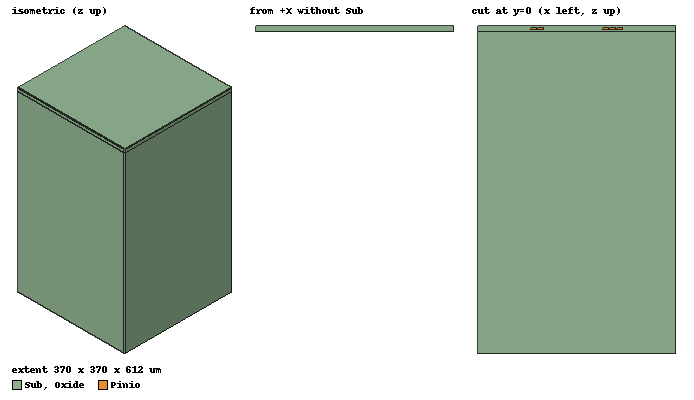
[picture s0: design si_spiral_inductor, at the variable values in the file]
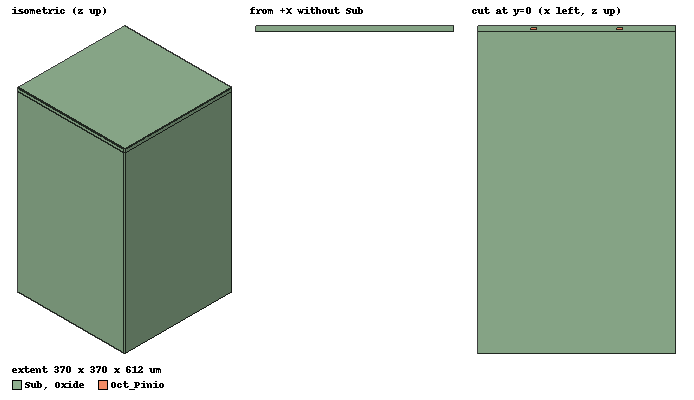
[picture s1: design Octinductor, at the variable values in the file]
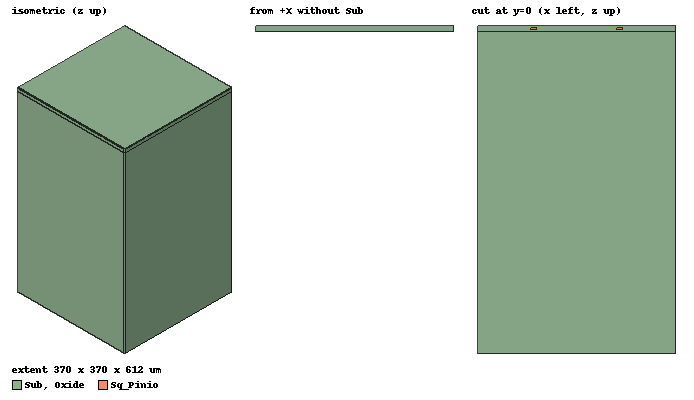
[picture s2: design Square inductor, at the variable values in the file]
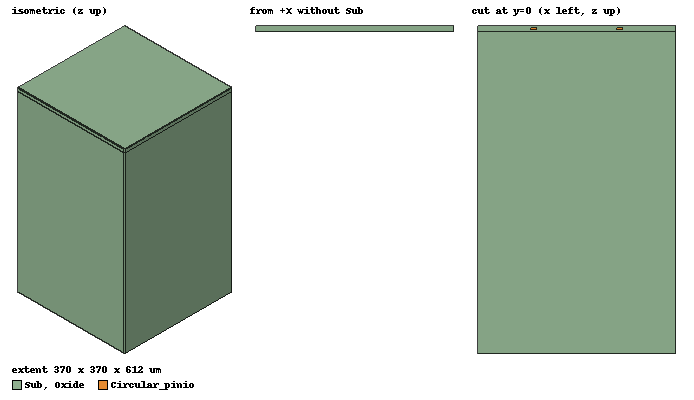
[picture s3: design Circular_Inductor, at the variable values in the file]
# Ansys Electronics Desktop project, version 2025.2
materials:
  vacuum: permittivity=1
  silicon_dioxide: permittivity=4
  silicon: permittivity=11.9
  conformal_coat: permittivity=3.1 permeability=1 dielectric_loss_tangent=0.035
  copper: permeability=0.999991 conductivity=58000000

design si_spiral_inductor (HFSS, HFSS Terminal Network, model units um)
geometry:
  Sub [silicon] = box(corner=(-185um, -185um, -600um), size=(370um, 370um, 600um))
  Oxide [silicon_dioxide] = box(corner=(-185um, -185um, 0um), size=(370um, 370um, 12um))
  Underpass [copper] = box(corner=(-118um, -59um, 3.2um), size=(70um, 11um, 0.8um))
  Pinio [copper] = polyline(z=6.8um, xy in um: (79.5, 79.5) (-79.5, 79.5) (-79.5, -79.5) (79.5, -79.5) (79.5, 66.5) (-66.5, 66.5) (-66.5, -66.5) (66.5, -66.5) (66.5, 53.5) (-53.5, 53.5) (-53.5, -53.5), section rectangle width=11um height=3.4um)
  Via [copper] = box(corner=(-59um, -59um, 4um), size=(11um, 11um, 1.1um))
  Port1_sheet = rectangle(corner=(79.5um, 74um, 5.1um), y_size=11um, z_size=3.4um)
  Port2_sheet = rectangle(corner=(-118um, -59um, 3.2um), y_size=11um, z_size=0.8um)
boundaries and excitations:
  Port1: Lumped Port Objects=Port1_sheet LumpedPortType=Modal Modes{Mode1{IntLine{(79.5, 79.594, 5.1) -> (79.5, 79.7, 8.5)} CharImp=Zpi}} Impedance=50ohm
  Port2: Lumped Port Objects=Port2_sheet LumpedPortType=Modal Modes{Mode1{IntLine{(-118, -54.1, 4) -> (-118, -54.1, 3.2)} CharImp=Zpi}} Impedance=50ohm
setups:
  Setup1: HfssDriven Frequency=160GHz MaxDeltaS=0.02 MaximumPasses=10 MinimumPasses=1 MinimumConvergedPasses=1 PercentRefinement=30 BasisOrder=1 PortAccuracy=2 DrivenSolverType="Direct Solver"
    sweep Sweep: 1GHz to 160GHz, 321 points; Type=Interpolating InterpTolerance=0.5 InterpMaxSolns=250 PassivityErrorTolerance=0.0001
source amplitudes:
  Port1:1: 1V 0deg
  Port2:1: 0V 0deg
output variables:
  R_ohm = re(1/Yt(Port1,Port1))
  L_nH = 1e9*im(1/Yt(Port1,Port1))/(2*pi*Freq)
  Q_factor = im(1/Yt(Port1,Port1))/re(1/Yt(Port1,Port1))
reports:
  Terminal S Parameter Plot1: mag(St(Port1,Port2)) vs Freq on Setup1 : Sweep
  Terminal S Parameter Plot2: cang_deg(St(Port1,Port1)) vs Freq on Setup1 : Sweep
  Terminal S Parameter Plot3: cang_deg(St(Port1,Port2)) vs Freq on Setup1 : Sweep
  Output Variables Plot1: R_ohm vs Freq on Setup1 : Sweep
  Output Variables Plot2: L_nH vs Freq on Setup1 : Sweep
  Output Variables Plot3: Q_factor vs Freq on Setup1 : Sweep

design Octinductor (HFSS, HFSS Terminal Network, model units um)
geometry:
  Sub [silicon] = box(corner=(-185um, -185um, -600um), size=(370um, 370um, 600um))
  Oxide [silicon_dioxide] = box(corner=(-185um, -185um, 0um), size=(370um, 370um, 12um))
  Oct_Pinio [copper] = polyline(z=6.8um, xy in um: (6.5, 79.5) (32.93, 79.5) (79.5, 32.93) (79.5, -32.93) (32.93, -79.5) (-32.93, -79.5) (-79.5, -32.93) (-79.5, 32.93) (-32.93, 79.5) (-6.5, 79.5), section rectangle width=11um height=3.4um)
  Port1_sheet = rectangle(corner=(6.5um, 74um, 5.1um), y_size=11um, z_size=3.4um)
  Port2_sheet = rectangle(corner=(-6.5um, 74um, 5.1um), y_size=11um, z_size=3.4um)
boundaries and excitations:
  Port1: Lumped Port Objects=Port1_sheet LumpedPortType=Modal Modes{Mode1{IntLine{(6.5, 79.7, 8.5) -> (6.5, 79.6, 5.1)} CharImp=Zpi}} Impedance=50ohm
  Port2: Lumped Port Objects=Port2_sheet LumpedPortType=Modal Modes{Mode1{IntLine{(-6.5, 78.6, 8.5) -> (-6.5, 78.8, 5.1)} CharImp=Zpi}} Impedance=50ohm
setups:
  Setup1: HfssDriven Frequency=160GHz MaxDeltaS=0.02 MaximumPasses=10 MinimumPasses=1 MinimumConvergedPasses=1 PercentRefinement=30 BasisOrder=1 PortAccuracy=2 DrivenSolverType="Direct Solver"
    sweep Sweep: 1GHz to 160GHz, 321 points; Type=Interpolating InterpTolerance=0.5 InterpMaxSolns=250 PassivityErrorTolerance=0.0001
  Setup200ghz: HfssDriven Frequency=200GHz MaxDeltaS=0.02 MaximumPasses=10 MinimumPasses=1 MinimumConvergedPasses=1 PercentRefinement=30 BasisOrder=1 PortAccuracy=2 DrivenSolverType="Direct Solver"
    sweep Sweep: 1GHz to 200GHz, 401 points; Type=Interpolating InterpTolerance=0.5 InterpMaxSolns=250 PassivityErrorTolerance=0.0001
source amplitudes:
  Port1:1: 1V 0deg
  Port2:1: 0V 0deg
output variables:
  R_ohm = re(1/Yt(Port1,Port1))
  L_nH = 1e9*im(1/Yt(Port1,Port1))/(2*pi*Freq)
  Q_factor = im(1/Yt(Port1,Port1))/re(1/Yt(Port1,Port1))
  Q_oct = im(1/Yt(Port1,Port1))/re(1/Yt(Port1,Port1))
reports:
  Terminal S Parameter Plot1: mag(St(Port1,Port2)) vs Freq on Setup1 : Sweep
  Terminal S Parameter Plot2: cang_deg(St(Port1,Port1)) vs Freq on Setup1 : Sweep
  Terminal S Parameter Plot3: cang_deg(St(Port1,Port2)) vs Freq on Setup1 : Sweep
  Output Variables Plot1: R_ohm vs Freq on Setup1 : Sweep
  Output Variables Plot2: L_nH vs Freq on Setup1 : Sweep
  Output Variables Plot3: Q_factor vs Freq on Setup1 : Sweep
  Output Variables Plot4: Q_oct vs Freq on Setup200ghz : Sweep

design Square inductor (HFSS, HFSS Terminal Network, model units um)
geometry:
  Sub [silicon] = box(corner=(-185um, -185um, -600um), size=(370um, 370um, 600um))
  Oxide [silicon_dioxide] = box(corner=(-185um, -185um, 0um), size=(370um, 370um, 12um))
  Sq_Pinio [copper] = polyline(z=6.8um, xy in um: (6.5, 79.5) (79.5, 79.5) (79.5, -79.5) (-79.5, -79.5) (-79.5, 79.5) (-6.5, 79.5), section rectangle width=11um height=3.4um)
  Port1_sheet = rectangle(corner=(6.5um, 74um, 5.1um), y_size=11um, z_size=3.4um)
  Port2_sheet = rectangle(corner=(-6.5um, 74um, 5.1um), y_size=11um, z_size=3.4um)
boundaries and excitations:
  Port1: Lumped Port Objects=Port1_sheet LumpedPortType=Modal Modes{Mode1{IntLine{(6.5, 79.8, 5.1) -> (6.5, 79.8, 8.5)} CharImp=Zpi}} Impedance=50ohm
  Port2: Lumped Port Objects=Port2_sheet LumpedPortType=Modal Modes{Mode1{IntLine{(-6.5, 79.6, 5.1) -> (-6.5, 79.5, 8.5)} CharImp=Zpi}} Impedance=50ohm
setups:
  Setup1: HfssDriven Frequency=160GHz MaxDeltaS=0.02 MaximumPasses=10 MinimumPasses=1 MinimumConvergedPasses=1 PercentRefinement=30 BasisOrder=1 PortAccuracy=2 DrivenSolverType="Direct Solver"
    sweep Sweep: 1GHz to 160GHz, 321 points; Type=Interpolating InterpTolerance=0.5 InterpMaxSolns=250 PassivityErrorTolerance=0.0001
  Setup200Ghz: HfssDriven Frequency=200GHz MaxDeltaS=0.02 MaximumPasses=10 MinimumPasses=1 MinimumConvergedPasses=1 PercentRefinement=30 BasisOrder=1 PortAccuracy=2 DrivenSolverType="Direct Solver"
    sweep Sweep: 1GHz to 200GHz, 401 points; Type=Interpolating InterpTolerance=0.5 InterpMaxSolns=250 PassivityErrorTolerance=0.0001
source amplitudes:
  Port1:1: 1V 0deg
  Port2:1: 0V 0deg
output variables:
  R_ohm = re(1/Yt(Port1,Port1))
  L_nH = 1e9*im(1/Yt(Port1,Port1))/(2*pi*Freq)
  Q_factor = im(1/Yt(Port1,Port1))/re(1/Yt(Port1,Port1))
  Q_square = im(1/Yt(Port1,Port1))/re(1/Yt(Port1,Port1))
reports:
  Terminal S Parameter Plot1: mag(St(Port1,Port2)) vs Freq on Setup1 : Sweep
  Terminal S Parameter Plot2: cang_deg(St(Port1,Port1)) vs Freq on Setup1 : Sweep
  Terminal S Parameter Plot3: cang_deg(St(Port1,Port2)) vs Freq on Setup1 : Sweep
  Output Variables Plot1: R_ohm vs Freq on Setup1 : Sweep
  Output Variables Plot2: L_nH vs Freq on Setup1 : Sweep
  Output Variables Plot3: Q_factor vs Freq on Setup1 : Sweep
  Output Variables Plot4: Q_square vs Freq on Setup200Ghz : Sweep

design Circular_Inductor (HFSS, HFSS Terminal Network, model units um)
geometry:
  Sub [silicon] = box(corner=(-185um, -185um, -600um), size=(370um, 370um, 600um))
  Oxide [silicon_dioxide] = box(corner=(-185um, -185um, 0um), size=(370um, 370um, 12um))
  Circular_pinio [copper] = cylinder(axis=Z, base_centre=(0um, 0um, 5.1um), radius=85um, height=3.4um)
  Inner_Cut = cylinder(axis=Z, base_centre=(0um, 0um, 5um), radius=74um, height=4um)
  Circular_pinio.subtract(Inner_Cut)
  Gap_Cut = box(corner=(-1um, 72um, 5um), size=(2um, 16um, 4um))
  Circular_pinio.subtract(Gap_Cut)
  Port1_Sheet = rectangle(corner=(1um, 74um, 5.1um), y_size=11um, z_size=3.4um)
  Port2_sheet = rectangle(corner=(-1um, 74um, 5.1um), y_size=11um, z_size=3.4um)
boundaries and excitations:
  Port1: Lumped Port Objects=Port1_Sheet LumpedPortType=Modal Modes{Mode1{IntLine{(1, 79.5, 8.5) -> (1, 79.5, 5.1)} CharImp=Zpi}} Impedance=50ohm
  Port2: Lumped Port Objects=Port2_sheet LumpedPortType=Modal Modes{Mode1{IntLine{(-1, 79.4, 5.1) -> (-1, 79.45, 8.5)} CharImp=Zpi}} Impedance=50ohm
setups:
  Setup1: HfssDriven Frequency=160GHz MaxDeltaS=0.02 MaximumPasses=10 MinimumPasses=1 MinimumConvergedPasses=1 PercentRefinement=30 BasisOrder=1 PortAccuracy=2 DrivenSolverType="Direct Solver"
    sweep Sweep: 1GHz to 160GHz, 321 points; Type=Interpolating InterpTolerance=0.5 InterpMaxSolns=250 PassivityErrorTolerance=0.0001
  Setup200Ghz: HfssDriven Frequency=200GHz MaxDeltaS=0.02 MaximumPasses=10 MinimumPasses=1 MinimumConvergedPasses=1 PercentRefinement=30 BasisOrder=1 PortAccuracy=2 DrivenSolverType="Direct Solver"
    sweep Sweep: 1GHz to 200GHz, 401 points; Type=Interpolating InterpTolerance=0.5 InterpMaxSolns=250 PassivityErrorTolerance=0.0001
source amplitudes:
  Port1:1: 1V 0deg
  Port2:1: 0V 0deg
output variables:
  R_ohm = re(1/Yt(Port1,Port1))
  L_nH = 1e9*im(1/Yt(Port1,Port1))/(2*pi*Freq)
  Q_factor = im(1/Yt(Port1,Port1))/re(1/Yt(Port1,Port1))
  Q_square = im(1/Yt(Port1,Port1))/re(1/Yt(Port1,Port1))
  Q_circular = im(1/Yt(Port1,Port1))/re(1/Yt(Port1,Port1))
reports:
  Output Variables Plot1: Q_circular vs Freq on Setup200Ghz : Sweep
